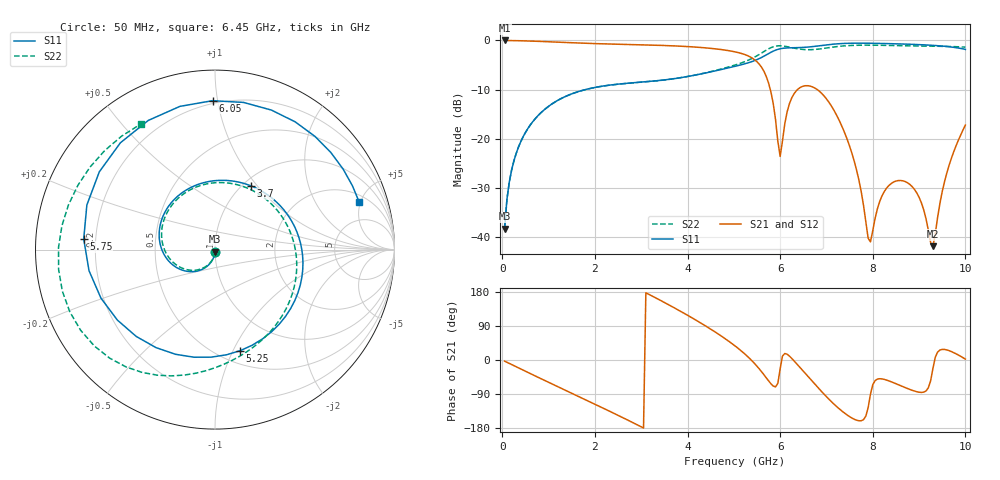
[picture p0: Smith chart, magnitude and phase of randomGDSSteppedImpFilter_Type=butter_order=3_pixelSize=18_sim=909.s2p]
! freq	dB(S11)	phase(S11)	dB(S12)	phase(S12)
!  dB(S21)	phase(S21)	dB(S22)	phase(S22)
!S-par simulation data
#  GHz  S  DB  R 50
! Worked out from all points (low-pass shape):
!   200 points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, 50 MHz to 10 GHz, reference 50 ohm
!   highest |S21| = -0.02 dB at 50 MHz (marker M1); lowest = -41.9 dB at 9.3 GHz (marker M2)
!   |S21| within 3 dB of the highest: start of sweep to 5.273 GHz
!   lowest |S11| = -38.3 dB at 50 MHz (marker M3), VSWR 1.02, Z = 50 - j1.22 ohm
!   |S11| at or under -10 dB: start of sweep to 1.796 GHz
!   |S22| runs from -38.3 to -1.0 dB; largest |S21 - S12| = 0
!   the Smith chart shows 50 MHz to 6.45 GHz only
!   S11 on the Smith chart (normalised r, x): 50 MHz: 1.00, -0.02; 3.7 GHz: 1.08, +0.93; 5.25 GHz: 0.63, -1.07; 5.75 GHz: 0.15, +0.04; 6.05 GHz: 0.18, +0.97; 6.45 GHz: 2.61, +4.87
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0.05  -38.29 -87.3  -0.02 -3.0  -0.02 -3.0  -38.31 -87.5
0.2  -26.42 -100.6  -0.04 -11.9  -0.04 -11.9  -26.44 -101.3
0.5  -18.73 -118.8  -0.11 -29.7  -0.11 -29.7  -18.74 -121.0
1.75  -10.11 171.3  -0.57 -102.2  -0.57 -102.2  -10.12 162.7
2.65  -8.76 122.2  -0.82 -155.0  -0.82 -155.0  -8.78 106.5
3.4  -8.14 79.3  -1.01 158.4  -1.01 158.4  -8.16 56.4
3.7  -7.80 60.9  -1.12 138.6  -1.12 138.6  -7.81 35.5
4.4  -6.61 12.1  -1.53 89.1  -1.53 89.1  -6.57 -14.3
5.05  -5.22 -49.3  -2.38 34.9  -2.38 34.9  -4.94 -62.0
5.25  -4.73 -76.0  -2.93 14.5  -2.93 14.5  -4.27 -77.5
5.5  -3.91 -121.0  -4.35 -16.4  -4.35 -16.4  -3.13 -98.9
5.75  -2.69 175.4  -8.69 -55.0  -8.69 -55.0  -1.72 -127.2
6.05  -1.62 91.0  -20.46 10.3  -20.46 10.3  -1.13 -172.8
6.45  -1.45 18.2  -9.49 -22.8  -9.49 -22.8  -1.80 120.6
6.7  -1.27 -9.3  -9.46 -57.1  -9.46 -57.1  -1.88 73.3
7.1  -0.81 -42.6  -13.25 -109.2  -13.25 -109.2  -1.42 -4.7
7.55  -0.58 -72.8  -22.97 -153.2  -22.97 -153.2  -1.03 -75.1
7.95  -0.59 -95.3  -40.97 -90.4  -40.97 -90.4  -0.97 -121.8
8.35  -0.66 -115.5  -29.50 -55.2  -29.50 -55.2  -1.03 -160.7
8.9  -0.82 -142.4  -30.30 -82.0  -30.30 -82.0  -1.13 151.1
9.3  -1.01 -163.5  -41.85 -21.4  -41.85 -21.4  -1.18 117.4
10  -1.83 147.9  -17.22 2.3  -17.22 2.3  -1.37 60.4
